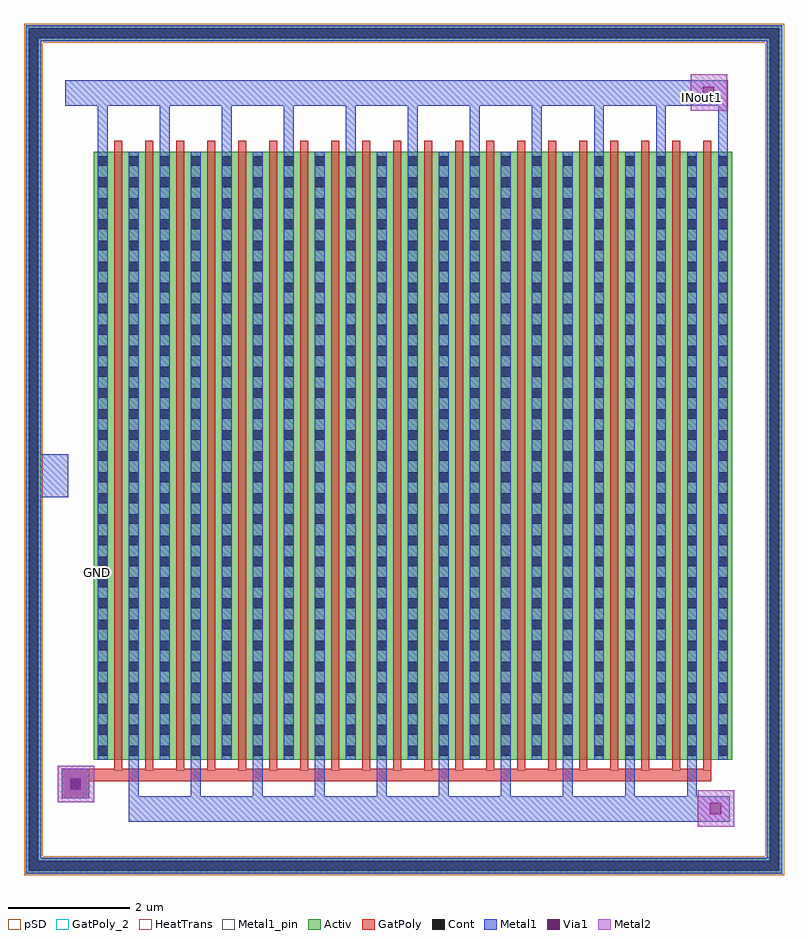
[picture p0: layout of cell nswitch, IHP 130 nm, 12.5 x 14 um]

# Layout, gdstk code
import gdstk
lib = gdstk.Library(unit=1e-6, precision=1e-09)
def R(c, l, rs):  # rectangles x0, y0, x1, y1
    for r in rs: c.add(gdstk.rectangle(r[:2], r[2:], *l))
def A(c, l, x, y, w, h, nx, ny, dx, dy):  # array of equal rectangles
    R(c, l, [(x+i*dx, y+j*dy, x+i*dx+w, y+j*dy+h) for i in range(nx) for j in range(ny)])
def P(c, l, *ps):  # polygons
    for p in ps: c.add(gdstk.Polygon(p, *l))
Activ = (1, 0)
GatPoly = (5, 0)
GatPoly_2 = (5, 2)
Cont = (6, 0)
Metal1 = (8, 0)
Metal1_pin = (8, 2)
Metal2 = (10, 0)
pSD = (14, 0)
Via1 = (19, 0)
HeatTrans = (51, 0)

nmos = lib.new_cell('nmos')
A(nmos, Activ, 0, 0, 0.3, 0.3, 21, 1, 0.51, 0)
R(nmos, Activ, [(0,0,10.5,10)])
A(nmos, GatPoly, 0.34, -0.18, 0.13, 10.36, 20, 1, 0.51, 0)
R(nmos, GatPoly_2, [(0.34,-0.18,0.47,10.18)])
A(nmos, Cont, 0.07, 0.07, 0.16, 0.16, 21, 4, 0.51, 0.345)
A(nmos, Cont, 0.07, 1.455, 0.16, 0.16, 21, 3, 0.51, 0.345)
A(nmos, Cont, 0.07, 2.495, 0.16, 0.16, 21, 4, 0.51, 0.345)
A(nmos, Cont, 0.07, 3.88, 0.16, 0.16, 21, 3, 0.51, 0.345)
A(nmos, Cont, 0.07, 4.92, 0.16, 0.16, 21, 4, 0.51, 0.345)
A(nmos, Cont, 0.07, 6.305, 0.16, 0.16, 21, 3, 0.51, 0.345)
A(nmos, Cont, 0.07, 7.345, 0.16, 0.16, 21, 4, 0.51, 0.345)
A(nmos, Cont, 0.07, 8.73, 0.16, 0.16, 21, 3, 0.51, 0.345)
A(nmos, Cont, 0.07, 9.77, 0.16, 0.16, 21, 1, 0.51, 0)
A(nmos, Metal1, 0.07, 0, 0.16, 10, 21, 1, 0.51, 0)
R(nmos, Metal1_pin, [(0.07,0,0.23,10), (0.58,0,0.74,10)])
A(nmos, HeatTrans, 0.34, -0.18, 0.13, 10.36, 20, 1, 0.51, 0)
nmos.add(gdstk.Label('nmos', (0.405,5), layer=63, texttype=0))
nmos.add(gdstk.Label('nmos', (0.405,5), layer=51, texttype=0))
nmos.add(gdstk.Label('nmos', (0.915,5), layer=51, texttype=0))
nmos.add(gdstk.Label('nmos', (1.425,5), layer=51, texttype=0))
nmos.add(gdstk.Label('nmos', (1.935,5), layer=51, texttype=0))
nmos.add(gdstk.Label('nmos', (2.445,5), layer=51, texttype=0))
nmos.add(gdstk.Label('nmos', (2.955,5), layer=51, texttype=0))
nmos.add(gdstk.Label('nmos', (3.465,5), layer=51, texttype=0))
nmos.add(gdstk.Label('nmos', (3.975,5), layer=51, texttype=0))
nmos.add(gdstk.Label('nmos', (4.485,5), layer=51, texttype=0))
nmos.add(gdstk.Label('nmos', (4.995,5), layer=51, texttype=0))
nmos.add(gdstk.Label('nmos', (5.505,5), layer=51, texttype=0))
nmos.add(gdstk.Label('nmos', (6.015,5), layer=51, texttype=0))
nmos.add(gdstk.Label('nmos', (6.525,5), layer=51, texttype=0))
nmos.add(gdstk.Label('nmos', (7.035,5), layer=51, texttype=0))
nmos.add(gdstk.Label('nmos', (7.545,5), layer=51, texttype=0))
nmos.add(gdstk.Label('nmos', (8.055,5), layer=51, texttype=0))
nmos.add(gdstk.Label('nmos', (8.565,5), layer=51, texttype=0))
nmos.add(gdstk.Label('nmos', (9.075,5), layer=51, texttype=0))
nmos.add(gdstk.Label('nmos', (9.585,5), layer=51, texttype=0))
nmos.add(gdstk.Label('nmos', (10.095,5), layer=51, texttype=0))

gring_2 = lib.new_cell('gring$2')
P(gring_2, Activ, [(0.03,0.03),(0.03,13.72),(0.28,13.72),(0.28,0.28),(12.22,0.28),(12.22,13.72),(0.03,13.72),(0.03,13.97),(12.47,13.97),(12.47,0.03)])
P(gring_2, Cont, [(0.075,0.075),(0.075,13.765),(0.235,13.765),(0.235,0.235),(12.265,0.235),(12.265,13.765),(0.075,13.765),(0.075,13.925),(12.425,13.925),(12.425,0.075)])
P(gring_2, Metal1, [(0.025,0.025),(0.025,13.715),(0.285,13.715),(0.285,0.285),(12.215,0.285),(12.215,13.715),(0.025,13.715),(0.025,13.975),(12.475,13.975),(12.475,0.025)])
P(gring_2, pSD, [(0,0),(0,13.69),(0.31,13.69),(0.31,0.31),(12.19,0.31),(12.19,13.69),(0,13.69),(0,14),(12.5,14),(12.5,0)])

nswitch = lib.new_cell('nswitch')
R(nswitch, GatPoly, [(0.62,1.265,1.07,1.75), (0.795,1.545,11.305,1.75)])
R(nswitch, Cont, [(0.768,1.418,0.928,1.578)])
R(nswitch, Metal1, [(0.62,1.265,1.07,1.75), (0.035,6.215,0.725,6.92)])
P(nswitch, Metal1, [(1.215,11.88),(1.215,12.65),(0.675,12.65),(0.675,13.07),(11.575,13.07),(11.575,12.58),(11.575,11.88),(11.415,11.88),(11.415,12.65),(10.795,12.65),(10.555,12.65),(10.555,11.895),(10.395,11.895),(10.395,12.65),(9.535,12.65),(9.535,11.895),(9.375,11.895),(9.375,12.65),(8.515,12.65),(8.515,11.895),(8.355,11.895),(8.355,12.65),(7.495,12.65),(7.495,11.89),(7.335,11.89),(7.335,12.65),(6.475,12.65),(6.475,11.89),(6.315,11.89),(6.315,12.65),(5.455,12.65),(5.455,11.895),(5.295,11.895),(5.295,12.65),(4.435,12.65),(4.435,11.885),(4.275,11.885),(4.275,12.65),(3.415,12.65),(3.415,11.885),(3.255,11.885),(3.255,12.65),(2.395,12.65),(2.395,11.885),(2.235,11.885),(2.235,12.65),(1.375,12.65),(1.375,11.88)],
  [(1.725,0.875),(1.725,2.05),(1.885,2.05),(1.885,1.295),(2.745,1.295),(2.745,2.05),(2.905,2.05),(2.905,1.295),(3.765,1.295),(3.765,2.05),(3.925,2.05),(3.925,1.295),(4.785,1.295),(4.785,2.055),(4.945,2.055),(4.945,1.295),(5.805,1.295),(5.805,2.055),(5.965,2.055),(5.965,1.295),(6.825,1.295),(6.825,2.05),(6.985,2.05),(6.985,1.295),(7.845,1.295),(7.845,2.06),(8.005,2.06),(8.005,1.295),(8.865,1.295),(8.865,2.06),(9.025,2.06),(9.025,1.295),(9.885,1.295),(9.885,2.06),(10.045,2.06),(10.045,1.295),(10.905,1.295),(10.905,2.065),(11.065,2.065),(11.065,1.295),(11.605,1.295),(11.605,0.875)])
R(nswitch, Metal2, [(11.078,0.795,11.678,1.395), (11.078,0.795,11.678,1.395), (0.555,1.195,1.155,1.795), (0.555,1.195,1.155,1.795), (10.968,12.57,11.568,13.17), (10.968,12.57,11.568,13.17)])
R(nswitch, Via1, [(11.275,1,11.465,1.19), (11.275,1,11.465,1.19), (0.752,1.4,0.942,1.59), (0.752,1.4,0.942,1.59), (11.165,12.775,11.355,12.965), (11.165,12.775,11.355,12.965)])
nswitch.add(gdstk.Reference(nmos, (1.145,1.895)))
nswitch.add(gdstk.Reference(gring_2, (0,0)))
nswitch.add(gdstk.Label('GND', (1.215,4.975), layer=10, texttype=1))
nswitch.add(gdstk.Label('INout1', (11.165,12.79), layer=10, texttype=1))

lib.write_gds('nswitch.gds')
